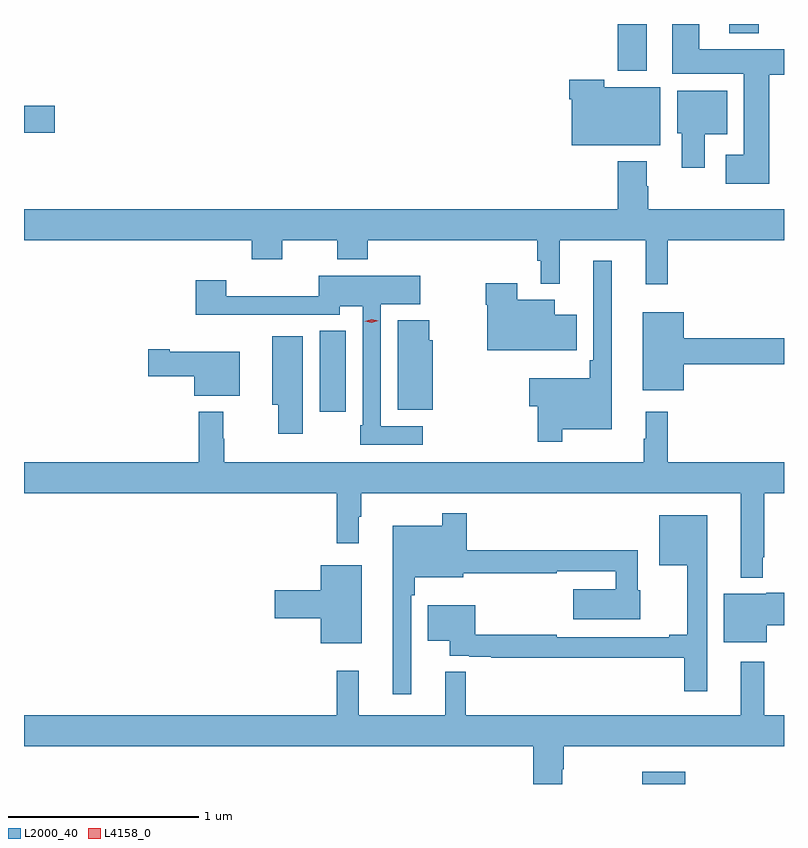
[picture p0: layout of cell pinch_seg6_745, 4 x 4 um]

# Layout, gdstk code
import gdstk
lib = gdstk.Library(unit=1e-6, precision=1e-09)
def R(c, l, rs):  # rectangles x0, y0, x1, y1
    for r in rs: c.add(gdstk.rectangle(r[:2], r[2:], *l))
def P(c, l, *ps):  # polygons
    for p in ps: c.add(gdstk.Polygon(p, *l))
L2000_40 = (2000, 40)
L4158_0 = (4158, 0)

pinch_seg6_745 = lib.new_cell('pinch_seg6_745')
R(pinch_seg6_745, L2000_40, [(256.07,981.77,256.295,981.835), (254.372,983.73,254.509,984.155), (252.816,985.198,252.979,985.34), (255.941,985.523,256.093,985.77), (256.529,985.721,256.682,985.77)])
P(pinch_seg6_745, L2000_40, [(256.739,985.502),(256.816,985.502),(256.816,985.636),(256.369,985.636),(256.369,985.77),(256.229,985.77),(256.229,985.508),(256.604,985.508),(256.604,985.081),(256.509,985.081),(256.509,984.929),(256.739,984.929)],
  [(256.165,985.438),(255.869,985.438),(255.869,985.477),(255.686,985.477),(255.686,985.373),(255.698,985.373),(255.698,985.133),(256.165,985.133)],
  [(256.399,985.19),(256.516,985.19),(256.516,985.42),(256.253,985.42),(256.253,985.194),(256.277,985.194),(256.277,985.014),(256.399,985.014)],
  [(256.205,984.632),(256.816,984.632),(256.816,984.796),(256.101,984.796),(256.101,984.917),(256.093,984.917),(256.093,985.048),(255.941,985.048),(255.941,984.796),(252.816,984.796),(252.816,984.632),(254.015,984.632),(254.015,984.533),(254.175,984.533),(254.175,984.632),(254.464,984.632),(254.464,984.533),(254.624,984.533),(254.624,984.632),(255.517,984.632),(255.517,984.525),(255.537,984.525),(255.537,984.404),(255.635,984.404),(255.635,984.632),(256.088,984.632),(256.088,984.399),(256.205,984.399)],
  [(255.649,983.636),(255.91,983.636),(255.91,984.523),(255.813,984.523),(255.813,984.001),(255.793,984.001),(255.793,983.905),(255.476,983.905),(255.476,983.758),(255.52,983.758),(255.52,983.571),(255.649,983.571)],
  [(254.914,983.652),(254.694,983.652),(254.694,984.296),(254.902,984.296),(254.902,984.445),(254.366,984.445),(254.366,984.338),(253.881,984.338),(253.881,984.421),(253.721,984.421),(253.721,984.239),(253.969,984.239),(253.969,984.24),(254.479,984.24),(254.479,984.284),(254.598,984.284),(254.598,983.659),(254.586,983.659),(254.586,983.556),(254.914,983.556)],
  [(255.724,984.241),(255.61,984.241),(255.61,984.319),(255.412,984.319),(255.412,984.406),(255.247,984.406),(255.247,984.293),(255.254,984.293),(255.254,984.053),(255.724,984.053)],
  [(256.288,983.98),(256.816,983.98),(256.816,984.116),(256.288,984.116),(256.288,984.253),(256.073,984.253),(256.073,983.843),(256.288,983.843)],
  [(254.968,984.105),(254.95,984.105),(254.95,984.211),(254.783,984.211),(254.783,983.741),(254.968,983.741)],
  [(254.284,984.127),(254.123,984.127),(254.123,983.765),(254.155,983.765),(254.155,983.613),(254.284,983.613)],
  [(253.951,984.046),(253.582,984.046),(253.582,984.059),(253.47,984.059),(253.47,983.917),(253.712,983.917),(253.712,983.813),(253.951,983.813)],
  [(256.703,982.963),(256.711,982.963),(256.711,983.3),(256.816,983.3),(256.816,983.464),(256.205,983.464),(256.205,983.728),(256.088,983.728),(256.088,983.588),(256.077,983.588),(256.077,983.464),(253.871,983.464),(253.871,983.588),(253.864,983.588),(253.864,983.728),(253.735,983.728),(253.735,983.464),(252.816,983.464),(252.816,983.3),(254.461,983.3),(254.461,983.037),(254.578,983.037),(254.578,983.177),(254.59,983.177),(254.59,983.3),(256.589,983.3),(256.589,982.856),(256.703,982.856)],
  [(254.853,982.763),(254.873,982.763),(254.873,982.859),(255.127,982.859),(255.127,982.878),(255.62,982.878),(255.62,982.89),(255.931,982.89),(255.931,982.795),(255.708,982.795),(255.708,982.637),(256.06,982.637),(256.06,982.791),(256.047,982.791),(256.047,982.999),(255.146,982.999),(255.146,983.194),(255.018,983.194),(255.018,983.128),(254.756,983.128),(254.756,982.242),(254.853,982.242)],
  [(256.411,983.185),(256.16,983.185),(256.16,982.922),(256.307,982.922),(256.307,982.555),(256.211,982.555),(256.211,982.542),(255.62,982.542),(255.62,982.555),(255.191,982.555),(255.191,982.711),(254.942,982.711),(254.942,982.523),(255.056,982.523),(255.056,982.446),(255.16,982.446),(255.16,982.44),(255.274,982.44),(255.274,982.434),(256.29,982.434),(256.29,982.257),(256.411,982.257)],
  [(254.593,982.921),(254.378,982.921),(254.378,982.79),(254.136,982.79),(254.136,982.643),(254.378,982.643),(254.378,982.511),(254.593,982.511)],
  [(256.726,982.606),(256.816,982.606),(256.816,982.777),(256.722,982.777),(256.722,982.771),(256.499,982.771),(256.499,982.517),(256.726,982.517)],
  [(255.649,981.848),(255.657,981.848),(255.657,981.968),(256.816,981.968),(256.816,982.132),(256.711,982.132),(256.711,982.414),(256.589,982.414),(256.589,982.132),(255.14,982.132),(255.14,982.361),(255.032,982.361),(255.032,982.132),(254.579,982.132),(254.579,982.366),(254.461,982.366),(254.461,982.132),(252.816,982.132),(252.816,981.968),(255.497,981.968),(255.497,981.77),(255.649,981.77)])
P(pinch_seg6_745, L4158_0, [(254.646,984.197),(254.61,984.205),(254.61,984.206),(254.61,984.206),(254.645,984.217),(254.68,984.208),(254.68,984.208),(254.68,984.208)])

lib.write_gds('pinch_seg6_745.gds')
